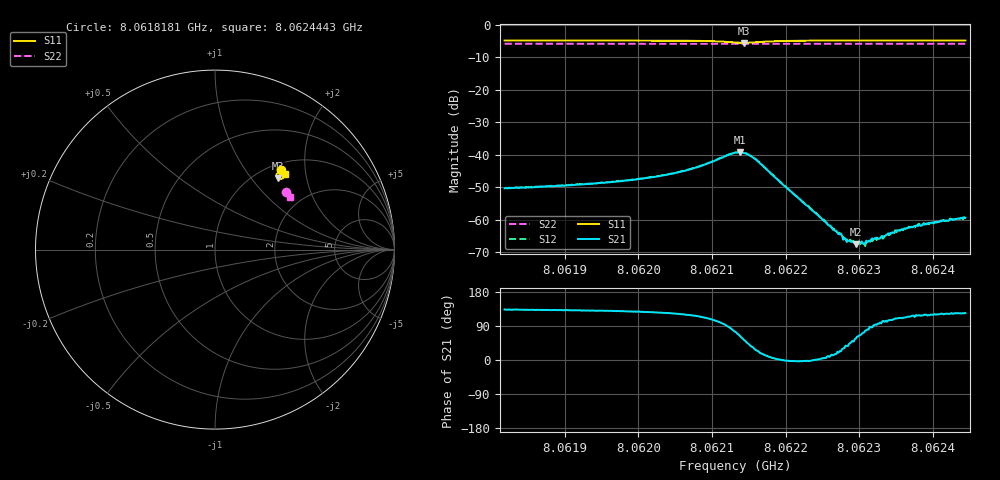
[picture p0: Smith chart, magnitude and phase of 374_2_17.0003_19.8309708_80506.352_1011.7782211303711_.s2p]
#  HZ  S  RI  R  50.00
! Rohde & Schwarz Vector Network Analyzer
! Rohde-Schwarz,ZNB20-2Port,1311601062101988,3.16
! Created: UTC 3/20/2024, 11:08:52 PM
! freq[Hz]  re:S11  im:S11  re:S21  im:S21  re:S12  im:S12  re:S22  im:S22
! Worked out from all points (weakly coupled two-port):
!   401 points, 8.0618181 GHz to 8.0624443 GHz, reference 50 ohm
!   highest |S21| = -39.27 dB at 8.0621374 GHz (marker M1); lowest = -67.6 dB at 8.0622956 GHz (marker M2)
!   lowest |S11| = -5.5 dB at 8.0621437 GHz (marker M3), VSWR 3.25, Z = 61.8 + j68.4 ohm
!   |S11| at or under -10 dB: nowhere
!   |S22| runs from -5.9 to -5.8 dB; largest |S21 - S12| = 0.00083
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8.06181808e9  0.3654 0.4453  -0.00209 0.00221  -0.00198 0.00235  0.398 0.3228
8.06192297e9  0.3727 0.4388  -0.00227 0.00266  -0.00215 0.00281  0.4021 0.3175
8.06198402e9  0.3773 0.434  -0.00249 0.00314  -0.00234 0.00328  0.4043 0.3145
8.06202786e9  0.381 0.4291  -0.00268 0.00383  -0.00249 0.00401  0.406 0.3122
8.06205603e9  0.3835 0.4242  -0.00282 0.00462  -0.00255 0.00483  0.4069 0.3105
8.06208265e9  0.3854 0.417  -0.00275 0.00595  -0.00242 0.00621  0.4079 0.3089
8.06213118e9  0.3657 0.3926  0.00283 0.0104  0.00344 0.0102  0.4083 0.3057
8.06213744e9  0.3571 0.3937  0.00471 0.00981  0.00528 0.00949  0.4081 0.3056
8.0621437e9  0.349 0.3982  0.00643 0.00833  0.00706 0.00809  0.4081 0.3057
8.06215153e9  0.3432 0.4079  0.00756 0.00603  0.00796 0.00565  0.4083 0.3057
8.06216092e9  0.3431 0.4195  0.00743 0.00339  0.00764 0.00306  0.4085 0.3056
8.06223607e9  0.372 0.4347  0.00139 -2.61e-05  0.00142 -0.000119  0.4127 0.3026
8.06228147e9  0.379 0.4318  0.000394 0.000304  0.000435 0.000232  0.4145 0.3003
8.06229556e9  0.3805 0.4308  0.000227 0.000347  0.000267 0.000359  0.4149 0.2994
8.06230495e9  0.3817 0.4302  0.000135 0.000409  0.00019 0.000388  0.4154 0.2988
8.06231121e9  0.3824 0.4298  7.15e-05 0.000442  9.12e-05 0.000425  0.4155 0.2984
8.06231904e9  0.383 0.4293  -5.49e-06 0.000501  4.98e-05 0.000481  0.4159 0.2982
8.06233e9  0.3841 0.4286  -6.36e-05 0.000543  -4.3e-05 0.000553  0.4163 0.2976
8.06234096e9  0.3849 0.4279  -0.000155 0.000579  -0.00014 0.00056  0.4166 0.297
8.06234722e9  0.3855 0.4275  -0.000188 0.000596  -0.000144 0.00059  0.4168 0.2966
8.06238166e9  0.3882 0.4255  -0.000392 0.000738  -0.000336 0.000787  0.4181 0.295
8.06244428e9  0.3925 0.4219  -0.000596 0.000884  -0.000562 0.000941  0.4204 0.2915
